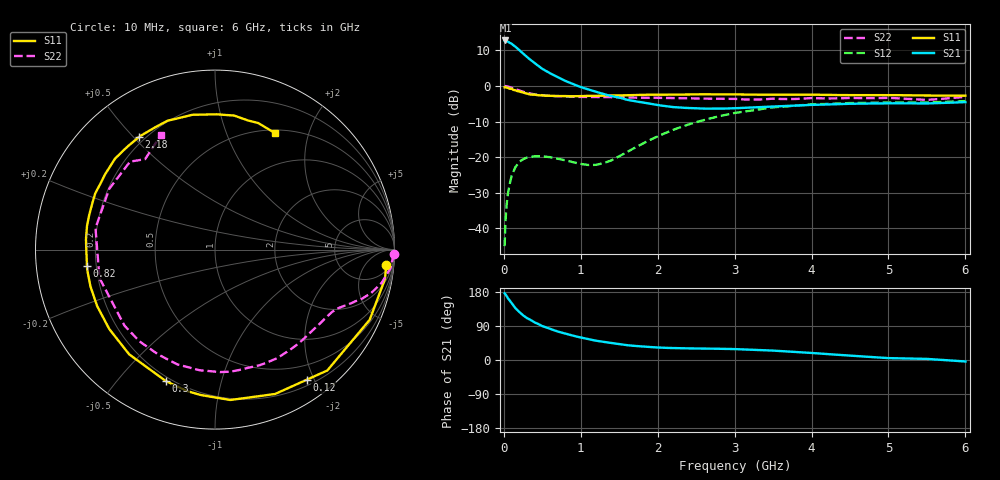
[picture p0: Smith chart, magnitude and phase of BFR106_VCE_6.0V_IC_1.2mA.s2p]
! Infineon Technologies  Discrete & RF Semiconductors
! BFR106
! VCE =  6.0 V,  IC =  1.2 mA
! Common Emitter S-Parameters:  Nov 2015
# GHz  S  MA  R  50
!  f  S11  S21  S12  S22
! GHz  MAG  ANG  MAG  ANG  MAG  ANG  MAG  ANG
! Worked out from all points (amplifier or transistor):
!   210 points, 10 MHz to 6 GHz, reference 50 ohm
!   highest |S21| = 12.8 dB at 20 MHz (marker M1)
!   |S21| within 3 dB of that: start of sweep to 215.8 MHz
!   unconditionally stable (mu >= 1): 842.6 MHz to 1.825 GHz; 3.15 GHz to end of sweep
!   at 185 MHz: K = 0.20, MSG = 16.1 dB, |S12| = -21.8 dB
!   at 1.52 GHz: K = 1.24, MAG = 5.1 dB, |S12| = -19.5 dB
!   at 6 GHz: K = 1.02, MAG = -1.0 dB, |S12| = -4.3 dB
!   S11 on the Smith chart (normalised r, x): 10 MHz: 9, -19; 120 MHz: 0.28, -1.89; 300 MHz: 0.18, -0.68; 820 MHz: 0.16, -0.06; 2.18 GHz: 0.18, +0.52; 6 GHz: 0.54, +1.50
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0.01  0.9584 -5.0  4.336 176.1  0.0056 90.3  0.9998 -1.4
0.02  0.9609 -9.9  4.361 173.8  0.0117 86.2  0.9931 -2.5
0.05  0.9465 -24.4  4.224 163.8  0.029 75.7  0.9828 -6.1
0.1  0.9193 -47.1  3.934 150.3  0.0537 65.0  0.9469 -11.3
0.12  0.8867 -54.9  3.763 145.2  0.0608 59.6  0.929 -12.9
0.15  0.8713 -67.4  3.57 136.7  0.0722 53.6  0.9036 -15.5
0.2  0.8423 -84.2  3.206 126.9  0.0852 45.9  0.8647 -18.4
0.26  0.8035 -101.0  2.793 116.4  0.0946 37.8  0.8226 -21.0
0.3  0.7823 -110.4  2.551 110.7  0.0986 34.3  0.8019 -22.4
0.4  0.7545 -129.3  2.096 99.1  0.1028 27.0  0.7617 -25.3
0.5  0.7369 -143.1  1.741 89.5  0.1023 22.6  0.7385 -28.1
0.66  0.7232 -159.9  1.397 78.0  0.0969 20.3  0.7208 -33.0
0.82  0.7191 -172.6  1.153 68.3  0.089 22.1  0.7084 -38.2
1.02  0.7214 174.2  0.949 58.3  0.0796 31.5  0.7012 -45.4
1.4  0.7372 154.8  0.719 44.7  0.0901 62.6  0.6966 -60.4
2.02  0.753 129.7  0.535 32.8  0.2 77.0  0.6815 -88.6
2.18  0.7566 124.2  0.508 31.5  0.2365 75.3  0.6773 -96.3
3.1  0.7581 97.5  0.491 28.0  0.4319 53.3  0.6485 -145.1
3.5  0.7537 89.4  0.514 24.8  0.501 43.0  0.663 -166.2
4.1  0.7514 80.7  0.545 17.1  0.5555 28.2  0.6707 165.9
5.1  0.7425 70.1  0.571 4.6  0.5858 9.8  0.6718 132.8
6  0.7304 63.0  0.593 -3.9  0.6129 -1.8  0.7043 115.4
